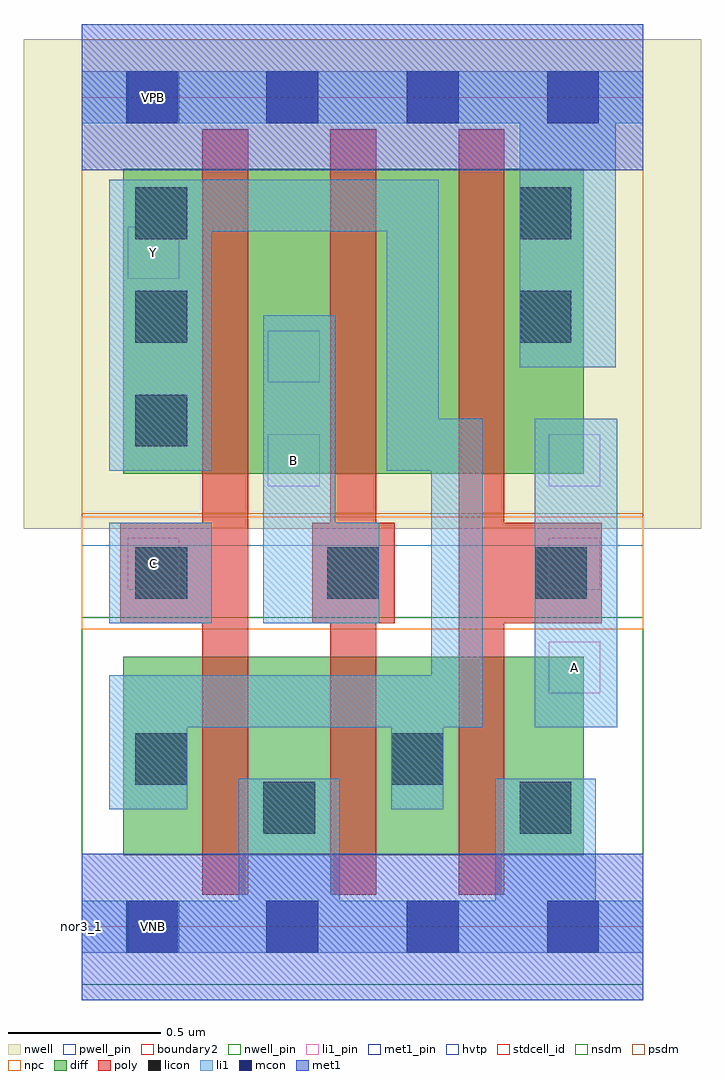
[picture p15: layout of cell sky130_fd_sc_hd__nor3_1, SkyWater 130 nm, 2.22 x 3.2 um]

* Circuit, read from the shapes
.subckt sky130_fd_sc_hd__nor3_1 A B C VGND VNB VPB VPWR Y
XM1 VGND C Y VNB sky130_fd_pr__nfet_01v8 w=0.65 l=0.15
XM2 Y B VGND VNB sky130_fd_pr__nfet_01v8 w=0.65 l=0.15
XM3 VGND A Y VNB sky130_fd_pr__nfet_01v8 w=0.65 l=0.15
XM4 n1 C Y VPB sky130_fd_pr__pfet_01v8_hvt w=1 l=0.15
XM5 n2 B n1 VPB sky130_fd_pr__pfet_01v8_hvt w=1 l=0.15
XM6 VPWR A n2 VPB sky130_fd_pr__pfet_01v8_hvt w=1 l=0.15
.ends

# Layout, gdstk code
import gdstk
lib = gdstk.Library(unit=1e-6, precision=1e-09)
def R(c, l, rs):  # rectangles x0, y0, x1, y1
    for r in rs: c.add(gdstk.rectangle(r[:2], r[2:], *l))
def A(c, l, x, y, w, h, nx, ny, dx, dy):  # array of equal rectangles
    R(c, l, [(x+i*dx, y+j*dy, x+i*dx+w, y+j*dy+h) for i in range(nx) for j in range(ny)])
def P(c, l, *ps):  # polygons
    for p in ps: c.add(gdstk.Polygon(p, *l))
nwell_pin = (64, 16)
nwell = (64, 20)
diff = (65, 20)
poly = (66, 20)
licon = (66, 44)
li1_pin = (67, 16)
li1 = (67, 20)
mcon = (67, 44)
met1_pin = (68, 16)
met1 = (68, 20)
hvtp = (78, 44)
stdcell_id = (81, 4)
nsdm = (93, 44)
psdm = (94, 20)
npc = (95, 20)
pwell_pin = (122, 16)
boundary2 = (236, 0)

sky130_fd_sc_hd__nor3_1 = lib.new_cell('sky130_fd_sc_hd__nor3_1')
R(sky130_fd_sc_hd__nor3_1, nwell_pin, [(0.15,2.635,0.32,2.805)])
R(sky130_fd_sc_hd__nor3_1, nwell, [(-0.19,1.305,2.03,2.91)])
R(sky130_fd_sc_hd__nor3_1, diff, [(0.135,0.235,1.645,0.885), (0.135,1.485,1.645,2.485)])
P(sky130_fd_sc_hd__nor3_1, poly, [(1.705,1.325),(1.385,1.325),(1.385,2.615),(1.235,2.615),(1.235,0.105),(1.385,0.105),(1.385,0.995),(1.705,0.995)],
  [(1.025,1.325),(0.965,1.325),(0.965,2.615),(0.815,2.615),(0.815,1.325),(0.755,1.325),(0.755,0.995),(0.815,0.995),(0.815,0.105),(0.965,0.105),(0.965,0.995),(1.025,0.995)],
  [(0.545,2.615),(0.395,2.615),(0.395,1.325),(0.125,1.325),(0.125,0.995),(0.395,0.995),(0.395,0.105),(0.545,0.105)])
A(sky130_fd_sc_hd__nor3_1, licon, 0.175, 1.575, 0.17, 0.17, 1, 3, 0, 0.34)
R(sky130_fd_sc_hd__nor3_1, licon, [(0.595,0.305,0.765,0.475), (1.435,0.305,1.605,0.475), (0.175,0.465,0.345,0.635), (1.015,0.465,1.185,0.635), (0.175,1.075,0.345,1.245), (0.805,1.075,0.975,1.245), (1.485,1.075,1.655,1.245), (1.435,1.915,1.605,2.085), (1.435,2.255,1.605,2.425)])
A(sky130_fd_sc_hd__nor3_1, li1_pin, 1.53, 0.765, 0.17, 0.17, 1, 3, 0, 0.34)
R(sky130_fd_sc_hd__nor3_1, li1_pin, [(0.15,1.105,0.32,1.275), (0.61,1.445,0.78,1.615), (0.61,1.785,0.78,1.955), (0.15,2.125,0.32,2.295)])
R(sky130_fd_sc_hd__nor3_1, li1, [(1.485,0.655,1.755,1.665), (0.09,0.995,0.425,1.325)])
P(sky130_fd_sc_hd__nor3_1, li1, [(1.84,0.085),(1.685,0.085),(1.685,0.485),(1.355,0.485),(1.355,0.085),(0.845,0.085),(0.845,0.485),(0.515,0.485),(0.515,0.085),(0,0.085),(0,-0.085),(1.84,-0.085)],
  [(1.84,2.805),(0,2.805),(0,2.635),(1.435,2.635),(1.435,1.835),(1.75,1.835),(1.75,2.635),(1.84,2.635)],
  [(0.975,1.325),(0.83,1.325),(0.83,2.005),(0.595,2.005),(0.595,0.995),(0.975,0.995)],
  [(1.315,1.665),(1.17,1.665),(1.17,2.45),(0.09,2.45),(0.09,1.495),(0.425,1.495),(0.425,2.28),(1,2.28),(1,1.495),(1.145,1.495),(1.145,0.825),(0.09,0.825),(0.09,0.385),(0.345,0.385),(0.345,0.655),(1.015,0.655),(1.015,0.385),(1.185,0.385),(1.185,0.655),(1.315,0.655)])
A(sky130_fd_sc_hd__nor3_1, mcon, 0.145, -0.085, 0.17, 0.17, 4, 2, 0.46, 2.72)
R(sky130_fd_sc_hd__nor3_1, met1_pin, [(0.15,-0.085,0.32,0.085), (0.15,2.635,0.32,2.805)])
R(sky130_fd_sc_hd__nor3_1, hvtp, [(0,1.25,1.84,2.72)])
R(sky130_fd_sc_hd__nor3_1, stdcell_id, [(0,0,1.84,2.72)])
R(sky130_fd_sc_hd__nor3_1, nsdm, [(0,-0.19,1.84,1.015)])
R(sky130_fd_sc_hd__nor3_1, psdm, [(0,1.355,1.84,2.91)])
R(sky130_fd_sc_hd__nor3_1, npc, [(0,0.975,1.84,1.345)])
R(sky130_fd_sc_hd__nor3_1, pwell_pin, [(0.15,-0.085,0.32,0.085)])
R(sky130_fd_sc_hd__nor3_1, boundary2, [(0,0,1.84,2.72)])
sky130_fd_sc_hd__nor3_1.add(gdstk.FlexPath([(0,2.72),(1.84,2.72)], 0.48, ends="flush", simple_path=True, layer=68, datatype=20))  # met1
sky130_fd_sc_hd__nor3_1.add(gdstk.FlexPath([(0,0),(1.84,0)], 0.48, ends="flush", simple_path=True, layer=68, datatype=20))  # met1
sky130_fd_sc_hd__nor3_1.add(gdstk.Label('C', (0.235,1.19), layer=67, texttype=5))
sky130_fd_sc_hd__nor3_1.add(gdstk.Label('Y', (0.235,2.21), layer=67, texttype=5))
sky130_fd_sc_hd__nor3_1.add(gdstk.Label('A', (1.615,0.85), layer=67, texttype=5))
sky130_fd_sc_hd__nor3_1.add(gdstk.Label('B', (0.695,1.53), layer=67, texttype=5))
sky130_fd_sc_hd__nor3_1.add(gdstk.Label('VPB', (0.235,2.72), layer=64, texttype=5))
sky130_fd_sc_hd__nor3_1.add(gdstk.Label('VNB', (0.235,0), layer=64, texttype=59))
sky130_fd_sc_hd__nor3_1.add(gdstk.Label('VGND', (0.235,0), layer=68, texttype=5))
sky130_fd_sc_hd__nor3_1.add(gdstk.Label('VPWR', (0.235,2.72), layer=68, texttype=5))
sky130_fd_sc_hd__nor3_1.add(gdstk.Label('nor3_1', (0,0), layer=83, texttype=44))

lib.write_gds('sky130_fd_sc_hd__nor3_1.gds')
